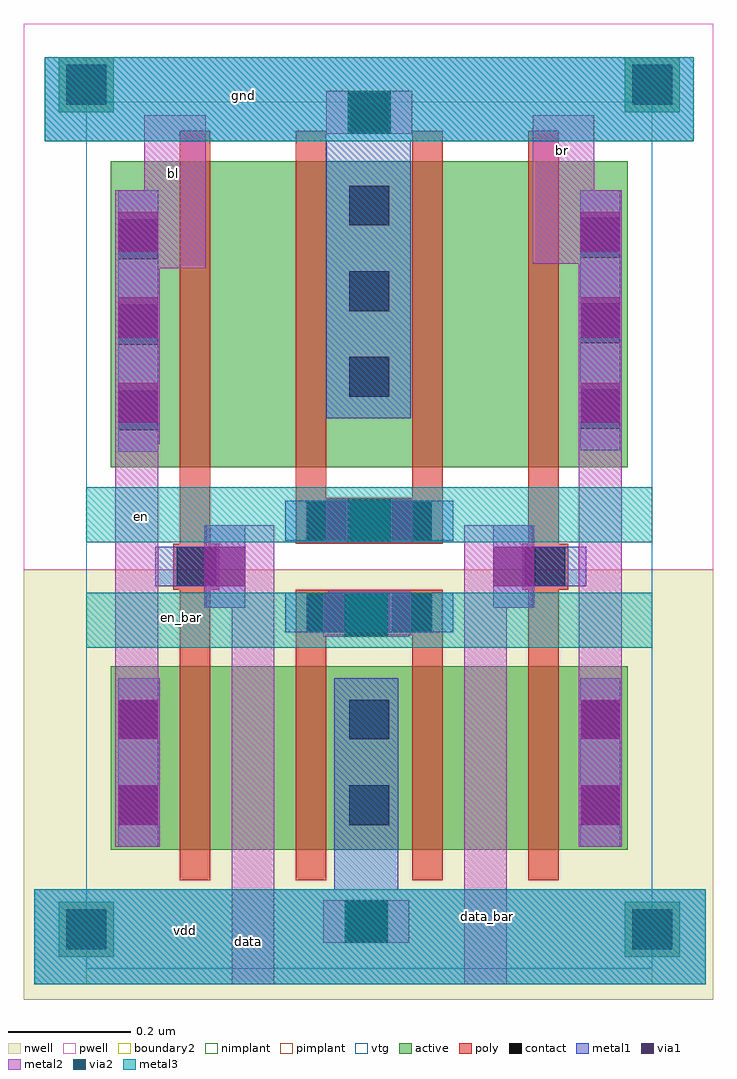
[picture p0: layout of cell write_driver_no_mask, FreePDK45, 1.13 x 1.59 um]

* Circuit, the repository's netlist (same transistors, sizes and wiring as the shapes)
************************************************************************
* auCdl Netlist:
* 
* Library Name:  openram
* Top Cell Name: write_driver_no_mask
* View Name:     schematic
* Netlisted on:  Jan 16 04:44:40 2021
************************************************************************

*.EQUATION
*.SCALE METER
*.MEGA
.PARAM



************************************************************************
* Library Name: openram
* Cell Name:    write_driver_no_mask
* View Name:    schematic
************************************************************************

.SUBCKT write_driver_no_mask bl br data data_bar en en_bar gnd vdd
MM13 net67 en gnd gnd NMOS_VTG W=500n L=50n m=1
MM6 br data_bar net67 gnd NMOS_VTG W=500n L=50n m=1
MM3 net66 en gnd gnd NMOS_VTG W=500n L=50n m=1
MM0 bl data net66 gnd NMOS_VTG W=500n L=50n m=1
MM10 net62 en_bar vdd vdd PMOS_VTG W=300n L=50n m=1
MM9 br data_bar net62 vdd PMOS_VTG W=300n L=50n m=1
MM2 net64 en_bar vdd vdd PMOS_VTG W=300n L=50n m=1
MM1 bl data net64 vdd PMOS_VTG W=300n L=50n m=1
.ENDS

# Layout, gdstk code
from math import pi, radians
import gdstk
lib = gdstk.Library(unit=1e-6, precision=5e-10)
def R(c, l, rs):  # rectangles x0, y0, x1, y1
    for r in rs: c.add(gdstk.rectangle(r[:2], r[2:], *l))
def A(c, l, x, y, w, h, nx, ny, dx, dy):  # array of equal rectangles
    R(c, l, [(x+i*dx, y+j*dy, x+i*dx+w, y+j*dy+h) for i in range(nx) for j in range(ny)])
active = (1, 0)
pwell = (2, 0)
nwell = (3, 0)
nimplant = (4, 0)
pimplant = (5, 0)
vtg = (6, 0)
poly = (9, 0)
contact = (10, 0)
metal1 = (11, 0)
via1 = (12, 0)
metal2 = (13, 0)
via2 = (14, 0)
metal3 = (15, 0)
boundary2 = (239, 0)

m1_poly_cdns_61173576675 = lib.new_cell('M1_POLY_CDNS_611735766750')
R(m1_poly_cdns_61173576675, poly, [(-0.0375,-0.1075,0.0375,0.1075)])
R(m1_poly_cdns_61173576675, contact, [(-0.0325,-0.1025,0.0325,-0.0375), (-0.0325,0.0375,0.0325,0.1025)])
R(m1_poly_cdns_61173576675, metal1, [(-0.0325,-0.1375,0.0325,0.1375)])

m2_m1_cdns_611735766751 = lib.new_cell('M2_M1_CDNS_611735766751')
R(m2_m1_cdns_611735766751, metal1, [(-0.0325,-0.0675,0.0325,0.0675)])
R(m2_m1_cdns_611735766751, via1, [(-0.0325,-0.0325,0.0325,0.0325)])
R(m2_m1_cdns_611735766751, metal2, [(-0.035,-0.0675,0.035,0.0675)])

c_m1_poly_cdns_61173576675 = lib.new_cell('M1_POLY_CDNS_611735766752')
R(c_m1_poly_cdns_61173576675, poly, [(-0.0375,-0.0375,0.0375,0.0375)])
R(c_m1_poly_cdns_61173576675, contact, [(-0.0325,-0.0325,0.0325,0.0325)])
R(c_m1_poly_cdns_61173576675, metal1, [(-0.0325,-0.0675,0.0325,0.0675)])

m1_p_cdns_611735766753 = lib.new_cell('M1_P_CDNS_611735766753')
R(m1_p_cdns_611735766753, active, [(-0.045,-0.1075,0.045,0.1075)])
R(m1_p_cdns_611735766753, pimplant, [(-0.045,-0.1075,0.045,0.1075)])
R(m1_p_cdns_611735766753, contact, [(-0.0325,-0.1025,0.0325,-0.0375), (-0.0325,0.0375,0.0325,0.1025)])
R(m1_p_cdns_611735766753, metal1, [(-0.0325,-0.1375,0.0325,0.1375)])

m2_m1_cdns_611735766754 = lib.new_cell('M2_M1_CDNS_611735766754')
R(m2_m1_cdns_611735766754, metal1, [(-0.0325,-0.1375,0.0325,0.1375)])
R(m2_m1_cdns_611735766754, via1, [(-0.0325,-0.1025,0.0325,-0.0375), (-0.0325,0.0375,0.0325,0.1025)])
R(m2_m1_cdns_611735766754, metal2, [(-0.035,-0.1375,0.035,0.1375)])

m1_n_cdns_611735766755 = lib.new_cell('M1_N_CDNS_611735766755')
R(m1_n_cdns_611735766755, active, [(-0.045,-0.1775,0.045,0.1775)])
R(m1_n_cdns_611735766755, nimplant, [(-0.045,-0.1775,0.045,0.1775)])
A(m1_n_cdns_611735766755, contact, -0.0325, -0.1725, 0.065, 0.065, 1, 3, 0, 0.14)
R(m1_n_cdns_611735766755, metal1, [(-0.0325,-0.2075,0.0325,0.2075)])

m2_m1_cdns_611735766756 = lib.new_cell('M2_M1_CDNS_611735766756')
R(m2_m1_cdns_611735766756, metal1, [(-0.0325,-0.2075,0.0325,0.2075)])
A(m2_m1_cdns_611735766756, via1, -0.0325, -0.1725, 0.065, 0.065, 1, 3, 0, 0.14)
R(m2_m1_cdns_611735766756, metal2, [(-0.035,-0.2075,0.035,0.2075)])

m3_m2_cdns_611735766757 = lib.new_cell('M3_M2_CDNS_611735766757')
R(m3_m2_cdns_611735766757, metal2, [(-0.035,-0.07,0.035,0.07)])
R(m3_m2_cdns_611735766757, via2, [(-0.035,-0.035,0.035,0.035)])
R(m3_m2_cdns_611735766757, metal3, [(-0.035,-0.07,0.035,0.07)])

write_driver_no_mask = lib.new_cell('write_driver_no_mask')
R(write_driver_no_mask, active, [(-0.045,0.045,0.045,0.135), (0.88,0.045,0.97,0.135), (0.04,0.22,0.885,0.52), (0.04,0.845,0.885,1.345), (-0.045,1.425,0.045,1.515), (0.88,1.425,0.97,1.515)])
R(write_driver_no_mask, pwell, [(-0.1025,0.6775,1.025,1.57)])
R(write_driver_no_mask, nwell, [(-0.1025,-0.025,1.025,0.6775)])
R(write_driver_no_mask, nimplant, [(-0.045,0.045,0.045,0.135), (0.88,0.045,0.97,0.135), (0.04,0.845,0.885,1.345)])
R(write_driver_no_mask, pimplant, [(0.04,0.22,0.885,0.52), (-0.045,1.425,0.045,1.515), (0.88,1.425,0.97,1.515)])
R(write_driver_no_mask, vtg, [(0,0.025,0.925,1.4425)])
R(write_driver_no_mask, poly, [(0.1525,0.17,0.2025,1.395), (0.3425,0.17,0.3925,0.645), (0.5325,0.17,0.5825,0.645), (0.7225,0.17,0.7725,1.395), (0.3425,0.72,0.3925,1.395), (0.5325,0.72,0.5825,1.395)])
R(write_driver_no_mask, contact, [(-0.0325,0.0575,0.0325,0.1225), (0.8925,0.0575,0.9575,0.1225), (-0.0325,1.4375,0.0325,1.5025), (0.8925,1.4375,0.9575,1.5025)])
R(write_driver_no_mask, metal1, [(-0.085,0,1.0125,0.155), (0.405,0.1025,0.51,0.5), (0.3925,0.925,0.53,1.44), (-0.0675,1.3775,0.9925,1.515)])
R(write_driver_no_mask, metal2, [(0.2375,0,0.3075,0.75), (0.6175,0,0.6875,0.75), (0.0475,0.225,0.1175,1.2975), (0.805,0.225,0.875,1.2975), (0.095,1.17,0.195,1.42), (0.73,1.1775,0.83,1.42)])
R(write_driver_no_mask, metal3, [(-0.085,0,1.0125,0.155), (0,0.55,0.925,0.64), (0,0.7225,0.925,0.8125), (-0.0675,1.3775,0.9925,1.515)])
R(write_driver_no_mask, boundary2, [(0,0,0.925,1.515)])
write_driver_no_mask.add(gdstk.Reference(m1_poly_cdns_61173576675, (0.4625,0.7575), rotation=pi/2))
write_driver_no_mask.add(gdstk.Reference(m1_poly_cdns_61173576675, (0.4625,0.6075), rotation=pi/2))
write_driver_no_mask.add(gdstk.Reference(m2_m1_cdns_611735766751, (0.6975,0.6825)))
write_driver_no_mask.add(gdstk.Reference(m2_m1_cdns_611735766751, (0.2275,0.6825)))
write_driver_no_mask.add(gdstk.Reference(m2_m1_cdns_611735766751, (0.465,0.7575), rotation=pi/2))
write_driver_no_mask.add(gdstk.Reference(m2_m1_cdns_611735766751, (0.4625,0.6075), rotation=pi/2))
write_driver_no_mask.add(gdstk.Reference(m2_m1_cdns_611735766751, (0.4575,0.1025), rotation=pi/2))
write_driver_no_mask.add(gdstk.Reference(m2_m1_cdns_611735766751, (0.4625,1.425), rotation=pi/2))
write_driver_no_mask.add(gdstk.Reference(c_m1_poly_cdns_61173576675, (0.18,0.6825), rotation=pi/2))
write_driver_no_mask.add(gdstk.Reference(c_m1_poly_cdns_61173576675, (0.75,0.6825), rotation=pi/2))
write_driver_no_mask.add(gdstk.Reference(m1_p_cdns_611735766753, (0.84,0.3625)))
write_driver_no_mask.add(gdstk.Reference(m1_p_cdns_611735766753, (0.4625,0.3625)))
write_driver_no_mask.add(gdstk.Reference(m1_p_cdns_611735766753, (0.085,0.3625)))
write_driver_no_mask.add(gdstk.Reference(m2_m1_cdns_611735766754, (0.84,0.3625)))
write_driver_no_mask.add(gdstk.Reference(m2_m1_cdns_611735766754, (0.085,0.3625)))
write_driver_no_mask.add(gdstk.Reference(m1_n_cdns_611735766755, (0.84,1.08)))
write_driver_no_mask.add(gdstk.Reference(m1_n_cdns_611735766755, (0.085,1.0775)))
write_driver_no_mask.add(gdstk.Reference(m1_n_cdns_611735766755, (0.4625,1.1325)))
write_driver_no_mask.add(gdstk.Reference(m2_m1_cdns_611735766756, (0.84,1.09)))
write_driver_no_mask.add(gdstk.Reference(m2_m1_cdns_611735766756, (0.085,1.09)))
write_driver_no_mask.add(gdstk.Reference(m3_m2_cdns_611735766757, (0.4575,0.6025), rotation=pi/2))
write_driver_no_mask.add(gdstk.Reference(m3_m2_cdns_611735766757, (0.4625,0.7575), rotation=pi/2))
write_driver_no_mask.add(gdstk.Reference(m3_m2_cdns_611735766757, (0.4575,0.1025), rotation=pi/2))
write_driver_no_mask.add(gdstk.Reference(m3_m2_cdns_611735766757, (0.4625,1.425), rotation=pi/2))
write_driver_no_mask.add(gdstk.Label('gnd', (0.2575,1.4525), layer=11, texttype=0))
write_driver_no_mask.add(gdstk.Label('vdd', (0.1625,0.0875), layer=11, texttype=0))
write_driver_no_mask.add(gdstk.Label('br', (0.7775,1.3625), layer=13, texttype=0))
write_driver_no_mask.add(gdstk.Label('bl', (0.1425,1.325), layer=13, texttype=0))
write_driver_no_mask.add(gdstk.Label('data_bar', (0.655,0.11), layer=13, texttype=0))
write_driver_no_mask.add(gdstk.Label('data', (0.265,0.07), layer=13, texttype=0))
write_driver_no_mask.add(gdstk.Label('en_bar', (0.155,0.6), layer=15, texttype=0))
write_driver_no_mask.add(gdstk.Label('en', (0.09,0.765), layer=15, texttype=0))

lib.write_gds('write_driver_no_mask.gds')
